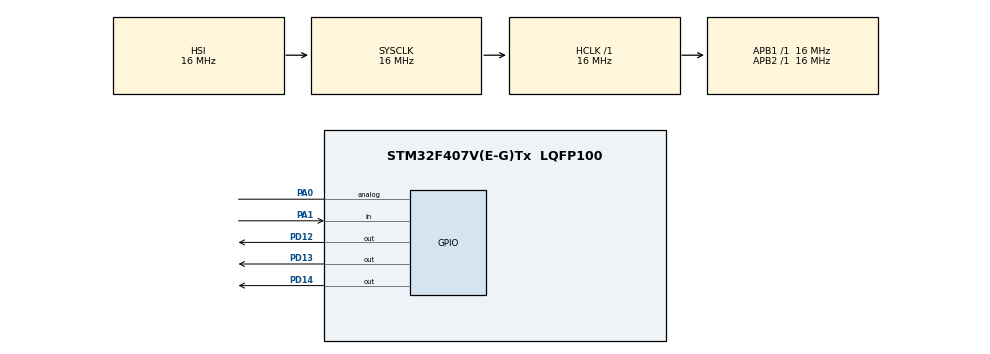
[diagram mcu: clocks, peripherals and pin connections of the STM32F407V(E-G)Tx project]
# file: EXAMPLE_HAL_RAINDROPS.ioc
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Mcu.Family=STM32F4
Mcu.Name=STM32F407V(E-G)Tx
Mcu.Package=LQFP100
NVIC.PriorityGroup=NVIC_PRIORITYGROUP_4
PA0-WKUP.Signal=GPIO_Analog
PA1.Signal=GPIO_Input
PD12.Signal=GPIO_Output
PD13.Signal=GPIO_Output
PD14.Signal=GPIO_Output
ProjectManager.HeapSize=0x200
ProjectManager.StackSize=0x400
ProjectManager.TargetToolchain=STM32CubeIDE
RCC.AHBFreq_Value=16000000
RCC.APB1Freq_Value=16000000
RCC.APB2Freq_Value=16000000
RCC.CortexFreq_Value=16000000
RCC.HSE_VALUE=25000000
RCC.HSI_VALUE=16000000
RCC.LSE_VALUE=32768
RCC.SYSCLKFreq_VALUE=16000000
RCC.VCOOutputFreq_Value=192000000
board=custom

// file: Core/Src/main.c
/* USER CODE BEGIN Header */
/**
  ******************************************************************************
  * @file           : main.c
  * @brief          : Main program body
  ******************************************************************************
  * @attention
  *
  * <h2><center>&copy; Copyright (c) 2021 STMicroelectronics.
  * All rights reserved.</center></h2>
  *
  * This software component is licensed by ST under BSD 3-Clause license,
  * the "License"; You may not use this file except in compliance with the
  * License. You may obtain a copy of the License at:
  *                        opensource.org/licenses/BSD-3-Clause
  *
  ******************************************************************************
  */
/* USER CODE END Header */
#include "main.h"

/* USER CODE BEGIN PV */

uint8_t deger_digitel;
uint8_t deger_analog;
uint8_t analog_sayi;

/* USER CODE END PV */

void SystemClock_Config(void);
static void MX_GPIO_Init(void);

/* USER CODE BEGIN 0 */
void raindrops_read()
{
	if(HAL_GPIO_ReadPin(GPIOA, GPIO_PIN_1) == GPIO_PIN_RESET)
	{
		//WET
		HAL_GPIO_WritePin(GPIOD, GPIO_PIN_12, GPIO_PIN_SET);
		HAL_Delay(100);

		HAL_GPIO_WritePin(GPIOD, GPIO_PIN_14, GPIO_PIN_RESET);
		HAL_Delay(100);

	}

	else
	{
		//dry
		HAL_GPIO_WritePin(GPIOD, GPIO_PIN_14, GPIO_PIN_SET);
		HAL_Delay(100);

		HAL_GPIO_WritePin(GPIOD, GPIO_PIN_12, GPIO_PIN_RESET);
		HAL_Delay(100);
	}

	analog_sayi = HAL_GPIO_ReadPin(GPIOA, GPIO_PIN_0);
	HAL_Delay(500);

}
/* USER CODE END 0 */

int main(void)
{

  /* MCU Configuration--------------------------------------------------------*/

  /* Reset of all peripherals, Initializes the Flash interface and the Systick. */
  HAL_Init();

  /* Configure the system clock */
  SystemClock_Config();

  /* Initialize all configured peripherals */
  MX_GPIO_Init();

  /* Infinite loop */
  while (1)
  {

    /* USER CODE BEGIN 3 */
	  raindrops_read();
  }
  /* USER CODE END 3 */
}

void SystemClock_Config(void)
{
  RCC_OscInitTypeDef RCC_OscInitStruct = {0};
  RCC_ClkInitTypeDef RCC_ClkInitStruct = {0};

  /** Configure the main internal regulator output voltage
  */
  __HAL_RCC_PWR_CLK_ENABLE();
  __HAL_PWR_VOLTAGESCALING_CONFIG(PWR_REGULATOR_VOLTAGE_SCALE1);
  /** Initializes the RCC Oscillators according to the specified parameters
  * in the RCC_OscInitTypeDef structure.
  */
  RCC_OscInitStruct.OscillatorType = RCC_OSCILLATORTYPE_HSI;
  RCC_OscInitStruct.HSIState = RCC_HSI_ON;
  RCC_OscInitStruct.HSICalibrationValue = RCC_HSICALIBRATION_DEFAULT;
  RCC_OscInitStruct.PLL.PLLState = RCC_PLL_NONE;
  if (HAL_RCC_OscConfig(&RCC_OscInitStruct) != HAL_OK)
  {
    Error_Handler();
  }
  /** Initializes the CPU, AHB and APB buses clocks
  */
  RCC_ClkInitStruct.ClockType = RCC_CLOCKTYPE_HCLK|RCC_CLOCKTYPE_SYSCLK
                              |RCC_CLOCKTYPE_PCLK1|RCC_CLOCKTYPE_PCLK2;
  RCC_ClkInitStruct.SYSCLKSource = RCC_SYSCLKSOURCE_HSI;
  RCC_ClkInitStruct.AHBCLKDivider = RCC_SYSCLK_DIV1;
  RCC_ClkInitStruct.APB1CLKDivider = RCC_HCLK_DIV1;
  RCC_ClkInitStruct.APB2CLKDivider = RCC_HCLK_DIV1;

  if (HAL_RCC_ClockConfig(&RCC_ClkInitStruct, FLASH_LATENCY_0) != HAL_OK)
  {
    Error_Handler();
  }
}

static void MX_GPIO_Init(void)
{
  GPIO_InitTypeDef GPIO_InitStruct = {0};

  /* GPIO Ports Clock Enable */
  __HAL_RCC_GPIOA_CLK_ENABLE();
  __HAL_RCC_GPIOD_CLK_ENABLE();

  /*Configure GPIO pin Output Level */
  HAL_GPIO_WritePin(GPIOD, GPIO_PIN_12|GPIO_PIN_13|GPIO_PIN_14, GPIO_PIN_RESET);

  /*Configure GPIO pin : PA0 */
  GPIO_InitStruct.Pin = GPIO_PIN_0;
  GPIO_InitStruct.Mode = GPIO_MODE_ANALOG;
  GPIO_InitStruct.Pull = GPIO_NOPULL;
  HAL_GPIO_Init(GPIOA, &GPIO_InitStruct);

  /*Configure GPIO pin : PA1 */
  GPIO_InitStruct.Pin = GPIO_PIN_1;
  GPIO_InitStruct.Mode = GPIO_MODE_INPUT;
  GPIO_InitStruct.Pull = GPIO_NOPULL;
  HAL_GPIO_Init(GPIOA, &GPIO_InitStruct);

  /*Configure GPIO pins : PD12 PD13 PD14 */
  GPIO_InitStruct.Pin = GPIO_PIN_12|GPIO_PIN_13|GPIO_PIN_14;
  GPIO_InitStruct.Mode = GPIO_MODE_OUTPUT_PP;
  GPIO_InitStruct.Pull = GPIO_NOPULL;
  GPIO_InitStruct.Speed = GPIO_SPEED_FREQ_LOW;
  HAL_GPIO_Init(GPIOD, &GPIO_InitStruct);

}

void Error_Handler(void)
{
  __disable_irq();
  while (1)
  {
  }
}

/************************ (C) COPYRIGHT STMicroelectronics *****END OF FILE****/
